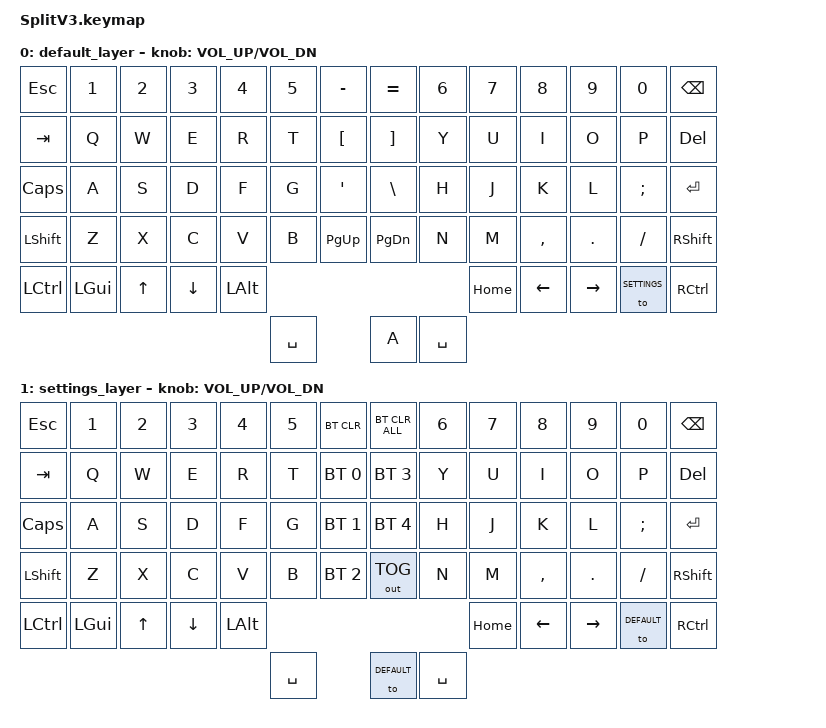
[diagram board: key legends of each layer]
#include <behaviors.dtsi>
#include <dt-bindings/zmk/keys.h>
#include <dt-bindings/zmk/outputs.h>
#include <dt-bindings/zmk/rgb.h>
#include <dt-bindings/zmk/bt.h>
#include <dt-bindings/zmk/ext_power.h>

#define DEFAULT 0
#define SETTINGS 1

/ {
        behaviors {
        hm: homerow_mods {
            compatible = "zmk,behavior-hold-tap";
            #binding-cells = <2>;
            tapping-term-ms = <150>;
            flavor = "tap-preferred";
            require-prior-idle-ms = <125>;
            bindings = <&kp>, <&kp>;
                };
        };
        keymap {
                compatible = "zmk,keymap";

                default_layer {
                sensor-bindings = <&inc_dec_kp C_VOL_UP C_VOL_DN>;
// -----------------------------------------------------------------------------------------
// |  ESC |  1  |  2  |  3  |  4  |  5  |  -  |   |  +  |  6  |  7   |  8  |  9  |  0  | BSPC |
// |  TAB |  Q  |  W  |  E  |  R  |  T  |LBRKT|   |RBRKT|  Y  |  U   |  I  |  O  |  P  |  DEL |
// | CAPS |  A  |  S  |  D  |  F  |  G  | APOS|   | SLSH|  H  |  J   |  K  |  L  | CLN |  ENT |
// | LSHFT|  Z  |  X  |  C  |  V  |  B  | PGUP|   | PGDN|  N  |  M   |  ,  |  .  |  /  | RSHFT|
// | CTRL | WIN |           |  UP | DWN | ALT |   | HME | LFT | RGHT |           |  FN | CTRL |
//                                | SPC |               | SPC |   
                        bindings = <
   &kp ESC    &kp N1    &kp N2  &kp N3  &kp N4  &kp N5     &kp MINUS       &kp EQUAL    &kp N6     &kp N7     &kp N8     &kp N9   &kp N0     &kp BSPC
   &kp TAB    &kp Q     &kp W   &kp E   &kp R   &kp T      &kp LBKT        &kp RBKT     &kp Y      &kp U      &kp I      &kp O    &kp P      &kp DEL
   &kp CAPS   &kp A     &kp S   &kp D   &kp F   &kp G      &kp APOS        &kp BSLH     &kp H      &kp J      &kp K      &kp L    &kp SEMI   &kp RET
   &kp LSHFT  &kp Z     &kp X   &kp C   &kp V   &kp B      &kp PG_UP       &kp PG_DN    &kp N      &kp M      &kp COMMA  &kp DOT  &kp FSLH   &kp RSHFT
   &kp LCTRL  &kp LGUI                  &kp UP  &kp DOWN   &kp LALT        &kp HOME     &kp LEFT   &kp RIGHT                      &to SETTINGS   &kp RCTRL
                                                &kp SPACE                  &kp A &kp SPACE
                        >; 
                };

        settings_layer {
        sensor-bindings = <&inc_dec_kp C_VOL_UP C_VOL_DN>;
                        bindings = <
   &kp ESC    &kp N1    &kp N2  &kp N3  &kp N4  &kp N5     &bt BT_CLR      &bt BT_CLR_ALL   &kp N6     &kp N7     &kp N8     &kp N9   &kp N0          &kp BSPC
   &kp TAB    &kp Q     &kp W   &kp E   &kp R   &kp T      &bt BT_SEL 0    &bt BT_SEL 3     &kp Y      &kp U      &kp I      &kp O    &kp P           &kp DEL
   &kp CAPS   &kp A     &kp S   &kp D   &kp F   &kp G      &bt BT_SEL 1    &bt BT_SEL 4     &kp H      &kp J      &kp K      &kp L    &kp SEMI        &kp RET
   &kp LSHFT  &kp Z     &kp X   &kp C   &kp V   &kp B      &bt BT_SEL 2    &out OUT_TOG     &kp N      &kp M      &kp COMMA  &kp DOT  &kp FSLH        &kp RSHFT
   &kp LCTRL  &kp LGUI                  &kp UP  &kp DOWN   &kp LALT        &kp HOME         &kp LEFT   &kp RIGHT                      &to DEFAULT     &kp RCTRL
                                                &kp SPACE                  &to DEFAULT      &kp SPACE

                        >; 
                };
        };
};
